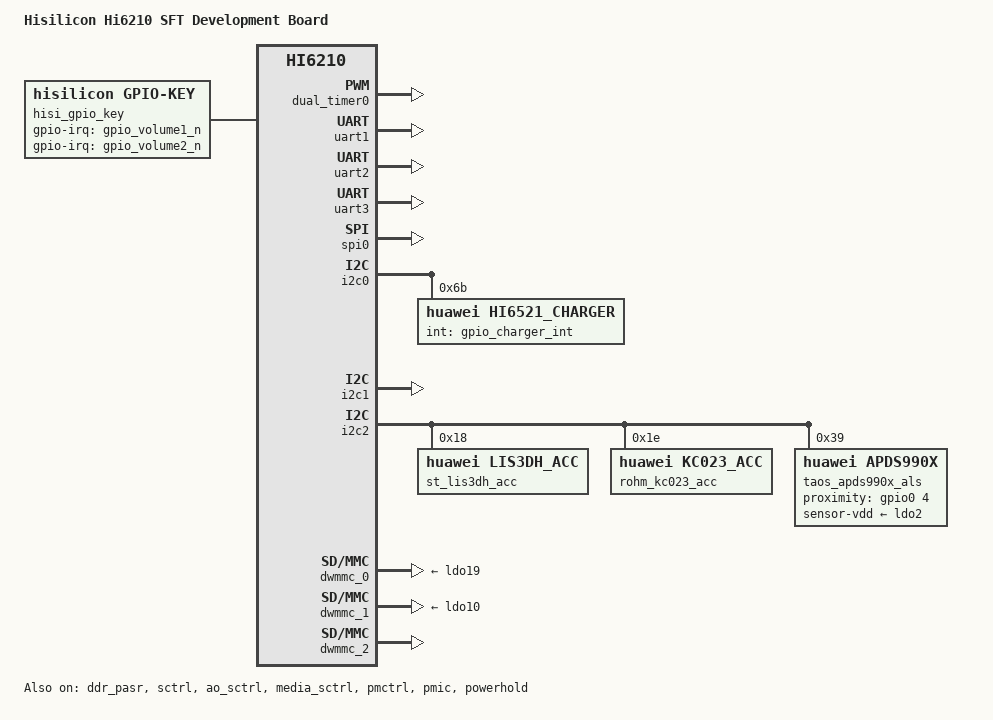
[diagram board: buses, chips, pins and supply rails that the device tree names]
/*
 *  Copyright (C) 2014 Hisilicon Ltd.
 *  Author: Bintian Wang <bintian.wang@huawei.com>
 *
 *  This program is free software; you can redistribute it and/or modify
 *  it under the terms of the GNU General Public License version 2 as
 *  publishhed by the Free Software Foundation.
 */

/include/ "skeleton.dtsi"
/include/ "hi6220_cs_udp_ddr2_pin.dtsi"
/include/ "hi6220_cs_udp_ddr2_charger.dtsi"
/include/ "hi6220_cs_udp_ddr2_pmic.dtsi"
/include/ "hi6220_cs_udp_ddr2_gpio_logic.dtsi"
/include/ "./cs_udp_ddr2/hi6220_gpio.dtsi"
/include/ "./cs_udp_ddr2/hi6220_pinctrl.dtsi"
/include/ "./cs_udp_ddr2/hi6220.dtsi"
/include/ "./cs_udp_ddr2/hi6220_clk.dtsi"
/include/ "./cs_udp_ddr2/hi6552_pmuclk.dtsi"
/include/ "./cs_udp_ddr2/hi6552_pmic_mntn.dtsi"
/include/ "./cs_udp_ddr2/hi6xxx_mtcmos.dtsi"
/include/ "./cs_udp_ddr2/hi6220_memory.dtsi"
/include/ "./cs_udp_ddr2/bq_bci_battery.dtsi"
/include/ "./cs_udp_ddr2/hi6220_touchscreen.dtsi"
/include/ "./cs_udp_ddr2/hi6220_vcodec.dtsi"
/include/ "./cs_udp_ddr2/hi6220_camera.dtsi"
/include/ "./cs_udp_ddr2/hi6220_videoconfig.dtsi"
/include/ "./cs_udp_ddr2/hi6220_mali450.dtsi"
/include/ "./cs_udp_ddr2/hi6220_fb.dtsi"
/include/ "./cs_udp_ddr2/hi6220_mipi_tm_nt35521.dtsi"
/include/ "./cs_udp_ddr2/hi6220_mipi_boe_nt35521.dtsi" 
/include/ "./cs_udp_ddr2/hi6220_mipi_cmi_nt35521.dtsi"
/include/ "./cs_udp_ddr2/hi6220_mipi_yassy_hx8394.dtsi"
/* /include/ "./cs_udp_ddr2/hi6220_otm1282b.dtsi" */
/include/ "./cs_udp_ddr2/hi6220_mipi_jdi_otm1902b.dtsi"
/include/ "./cs_udp_ddr2/test_hi6xxx_regulator.dtsi"
/include/ "./cs_udp_ddr2/hi6220_tsensor.dtsi"
/include/ "./cs_udp_ddr2/hi6xxx_hkadc.dtsi"
/include/ "./cs_udp_ddr2/hi6220_audio.dtsi"
/include/ "./cs_udp_ddr2/hi6220_clk_stub.dtsi"
/include/ "./cs_udp_ddr2/hi6xxx_ddr2.dtsi"
/include/ "./cs_udp_ddr2/hisi_hi1101.dtsi"
/include/ "./cs_udp_ddr2/hi6220_hall.dtsi"

/include/ "./cs_udp_ddr2/hisi_vibrator.dtsi"
/include/ "./cs_udp_ddr2/huawei_bluetooth.dtsi"
/include/ "./cs_udp_ddr2/huawei_gps.dtsi"
/include/ "./cs_udp_ddr2/hisi_hi6xxx_noc.dtsi"
/include/ "./cs_udp_ddr2/huawei_wifi.dtsi"
/ {
	model = "Hisilicon Hi6210 SFT Development Board";
	compatible = "hisilicon,hi6210";
	hisi,boardid = <0 0 5 3>;
	hisi,boardname = "hi6220_cs_udp_ddr2";
	mntn,acpu-scaddr = <0xf6504000 0x1000>;
	power,busdfs = <0x1>;
	power,localtimer = <0>;
	clk,support_odd_div = <0>;
	#address-cells = <1>;
	#size-cells = <1>;
	interrupt-parent = <&gic>;
	
    boardinfo{
	factory_product_name = "UDP";
	normal_product_name = "UDP";
	};
    
	aliases{
	    mshc0 = &dwmmc_0;
	    mshc1 = &dwmmc_1;
	    mshc2 = &dwmmc_2;
	};

	chosen {};

	clusters {
		#address-cells = <1>;
		#size-cells = <0>;

		cluster0: cluster@0 { /*A53 cluster*/
			reg = <0>;
			cores {
				#address-cells = <1>;
				#size-cells = <0>;

				core0: core@0 {
					reg = <0>;
				};

				core1: core@1 {
					reg = <1>;
				};

				core2: core@2 {
					reg = <2>;
				};

				core3: core@3 {
					reg = <3>;
				};

			};
		};

		cluster1: cluster@1 { /*A53 cluster*/
			reg = <1>;
			cores {
				#address-cells = <1>;
				#size-cells = <0>;

				core4: core@0 {
					reg = <0>;
				};

				core5: core@1 {
					reg = <1>;
				};

				core6: core@2 {
					reg = <2>;
				};

				core7: core@3 {
					reg = <3>;
				};
			};
		};
	};

	cpus {
		#address-cells = <1>;
		#size-cells = <0>;

		cpu@0 {
			compatible = "arm,cortex-a53";
			device_type = "cpu";
			reg = <0>;
			next-level-cache = <&l2>;			
			cluster = <&cluster0>;
			core = <&core0>;
			clock-frequency = <0>;
			clock-latency = <0>;
			operating-points = <
				/* kHz  uV */
				208000  0
				432000  0
				729000  0
				960000  0
				1200000 0
			>;
			
		};

		cpu@1 {
			compatible = "arm,cortex-a53";
			device_type = "cpu";
			reg = <1>;
			next-level-cache = <&l2>;
			cluster = <&cluster0>;
			core = <&core1>;
			clock-frequency = <0>;
			clock-latency = <0>;
		};

		cpu@2 {
			compatible = "arm,cortex-a53";
			device_type = "cpu";
			reg = <2>;
			next-level-cache = <&l2>;
			cluster = <&cluster0>;
			core = <&core2>;
			clock-frequency = <0>;
			clock-latency = <0>;
		};

		cpu@3 {
			compatible = "arm,cortex-a53";
			device_type = "cpu";
			reg = <3>;
			next-level-cache = <&l2>;
			cluster = <&cluster0>;
			core = <&core3>;
			clock-frequency = <0>;
			clock-latency = <0>;
		};
		cpu@4 {
			compatible = "arm,arm-v8";
			device_type = "cpu";
			reg = <0x100>;
			next-level-cache = <&l2>;
			cluster = <&cluster1>;
			core = <&core0>;
			clock-frequency = <0>;
			clock-latency = <0>;
		};
		cpu@5 {
			compatible = "arm,arm-v8";
			device_type = "cpu";
			reg = <0x101>;
			next-level-cache = <&l2>;
			cluster = <&cluster1>;
			core = <&core1>;
			clock-frequency = <0>;
			clock-latency = <0>;
		};
		cpu@6 {
			compatible = "arm,arm-v8";
			device_type = "cpu";
			reg = <0x102>;
			next-level-cache = <&l2>;
			cluster = <&cluster1>;
			core = <&core2>;
			clock-frequency = <0>;
			clock-latency = <0>;
		};
		cpu@7 {
			compatible = "arm,arm-v8";
			device_type = "cpu";
			reg = <0x103>;
			next-level-cache = <&l2>;
			cluster = <&cluster1>;
			core = <&core3>;
			clock-frequency = <0>;
			clock-latency = <0>;
		};
		
	};
	cpufreq-link_ddrfreq {
	        compatible = "hisilicon,cpu-link-ddr";
			switch-value = <0x1>;
			freq-208000 = <0x32c80 0x0 0x0>;
			freq-432000 = <0x69780 0x0 0x0>;
			freq-729000 = <0xb1fa8 0x0 0x0>;
			freq-960000 = <0xea600 0x0 0x61a80>;
			freq-1200000 = <0x124f80 0x0 0x61a80>;
        };	

    ddrfreq_boost_para {
            compatible = "hisilicon,ddrfreq_boost";
            switch-value = <0x1>;   
            ddrfreq_dfs_value = <0x5dc>;
            ddrfreq_dfs_last = <0x8>;
        };  
	
	cpufreq_scaling_threshold {
		compatible = "hisilicon,smp-scaling-threshold";
                operating-points = <
                        /* kHz  up_threshold down_threshold*/
                        208000   70   50
                        432000   75   50
                        729000   85   60
                        960000   85   70
                        1200000  90   70
                >;
	};
	
	cpuidle {
	        compatible = "arm,generic";
	        status = "ok";
        };
	
	/* cpufreq  device */
	cpufreq: cpufreq-bL {
		compatible = "hi6xxx,generic-smp-cpufreq";
	};
    /* ddr pasr */
    ddr_pasr: ddr_pasr@f7128000 {
        compatible = "hisilicon,ddr_pasr";
        reg = <0xf7128000 0x1000>;
        status = "ok";
    };
	timer {
	    compatible = "arm,armv8-timer";
	    interrupt-parent = <&gic>;
	    interrupts = <1 13 0xff08>,
	                 <1 14 0xff08>,
	                 <1 11 0xff08>,
	                 <1 10 0xff08>;
	    clock-frequency = <1200000>;
	};

	sctrl: sctrl {
		compatible = "hisilicon,sctrl";
		reg = <0xf7030000 0x2000>;
		status = "ok";
	};

	ao_sctrl: ao_sctrl {
		compatible = "hisilicon,aosctrl";
		reg = <0xf7800000 0x2000>;
		status = "ok";
	};
	
	media_sctrl: media_sctrl {
		compatible = "hisilicon,media_sctrl";
		reg = <0xf4410000 0x1000>;
		status = "ok";
	};

	pmctrl: pmctrl {
		compatible = "hisilicon,pmctrl";
		reg = <0xF7032000 0x1000>;
		status = "ok";
	};
        pmic: pmic@F8000000 {
                compatible = "hisilicon,hi6552-pmic-driver";
                status = "ok";
				/*电源按键*/
                ponkey:ponkey@b1{
                        compatible = "hisilicon,hisi-powerkey";
						/*PMU下的二级中断*/
                        interrupt-parent = <&pmic>;
						/*二级中断号*/
                        interrupts = <6 0>, <5 0>, <4 0>;
                        interrupt-names = "down", "up", "hold 1s";
                };
		/*库仑计驱动*/
                coul: coul@1 {
                        compatible = "hisilicon,hi6xxx-coul";
			/*父中断                                                           PMIC*/
                        interrupt-parent = <&pmic>;
			/*对应中断号                                                       24/25/26/27*/
                        interrupts = <24 0>, <25 0>, <26 0>, <27 0>;
			/*对应中断名称*/
                        interrupt-names = "cl_int_i", "cl_out_i", "cl_in_i", "vbat_int_i";	
			/*产品类型                                                         CHERRY*/
			battery_product_index = <0>;
			/*使能控制                                                         UDP版本关闭*/
						status = "ok";
                };
				/*RTC模块*/
                rtc: rtc@1 {
                        compatible = "hisilicon,hi6552-pmu-rtc";
						/*PMU下的二级中断*/
                        interrupt-parent = <&pmic>;
						/*二级中断号*/
                        interrupts = <20 0>;
                        interrupt-names = "hi6552_pmu_rtc";
						/*区分FPGA与ASIC平台：FPGA---0, ASIC---1*/
						board_id = <1>;
                };
				/*USB插拔检测*/
                usbvbus:usbvbus@b2{
			compatible = "hisilicon,hi6xxx-usbvbus";
			/*PMU下的二级中断*/
			interrupt-parent = <&pmic>;
			/*二级中断号*/
			interrupts = <9 0>, <8 0>;
			interrupt-names = "connect", "disconnect";
		};
	};

	amba {
		dual_timer0: timer@f8008000 {
			status = "ok";
		};

		dma0: dma@F7370000 {
			status = "ok";
		};
		/* UART模块pin脚配置 */
		uart0: uart@f8015000 {	/* console */
			pinctrl-names = "default", "idle";
			pinctrl-0 = <&UART0_RXD_pmx_func
			             &UART0_RXD_cfg_func
				     &UART0_TXD_pmx_func
				     &UART0_TXD_cfg_func>;
			pinctrl-1 = <&UART0_RXD_pmx_idle
			             &UART0_RXD_cfg_idle
				     &UART0_TXD_pmx_idle
			             &UART0_TXD_cfg_idle>;
			status = "disabled";
		};
		uart1: uart@f7111000 {
			pinctrl-names = "default", "idle";
			pinctrl-0 = <&UART1_CTS_N_pmx_func
			             &UART1_CTS_N_cfg_func
			             &UART1_RTS_N_pmx_func
				     &UART1_RTS_N_cfg_func
				     &UART1_RXD_pmx_func
				     &UART1_RXD_cfg_func
				     &UART1_TXD_pmx_func
				     &UART1_TXD_cfg_func>;
			pinctrl-1 = <&UART1_CTS_N_pmx_idle
			             &UART1_CTS_N_cfg_idle
			             &UART1_RTS_N_pmx_idle
				     &UART1_RTS_N_cfg_idle
				     &UART1_RXD_pmx_idle
				     &UART1_RXD_cfg_idle
				     &UART1_TXD_pmx_idle
				     &UART1_TXD_cfg_idle>;
			status = "ok";
		};
		uart2: uart@f7112000 {
			pinctrl-names = "default", "idle";
			pinctrl-0 = <&UART2_CTS_N_pmx_func
			             &UART2_CTS_N_cfg_func
			             &UART2_RTS_N_pmx_func
				     &UART2_RTS_N_cfg_func
				     &UART2_RXD_pmx_func
				     &UART2_RXD_cfg_func
				     &UART2_TXD_pmx_func
				     &UART2_TXD_cfg_func>;
			pinctrl-1 = <&UART2_CTS_N_pmx_idle
			             &UART2_CTS_N_cfg_idle
			             &UART2_RTS_N_pmx_idle
				     &UART2_RTS_N_cfg_idle
				     &UART2_RXD_pmx_idle
				     &UART2_RXD_cfg_idle
				     &UART2_TXD_pmx_idle
				     &UART2_TXD_cfg_idle>;
			status = "ok";
		};
		uart3: uart@f7113000 {
			status = "ok";
		};
		uart4: uart@f7114000 {
			status = "disabled";
		};

		spi0: spi@f7106000 {	
			status = "ok";
		};

		/*i2c 总线对接的设备*/
		i2c0: i2c@f7100000 {
			status = "ok";
			/*scharger驱动*/
			hi6521_charger:charger@6B {
				compatible = "huawei,hi6521_charger";
				/*scharger基地址                0x6B*/
				reg = <0x6B>;
				/*scharger中断*/
				gpio_int = <&gpio_charger_int>;
				/*最大输出电压                  4350mv*/
				max_charger_voltagemV = <4350>;
				/*最大输出电流                  2000ma*/
				max_charger_currentmA = <2000>;
				/*最大输入电流                  2500ma*/
				max_cin_limit_currentmA = <2500>;
				/*使能控制                      默认打开*/
				status = "ok";
			};

		};
		i2c1: i2c@f7101000 {
			status = "ok";			
		};
		i2c2: i2c@f7102000 {
			status = "ok";
			st_lis3dh_acc:acc@18{
				compatible="huawei,lis3dh_acc";
				reg = <0x18>;
				sensor_type="acc";
				poll_interval=<10>;
				min_interval=<10>;
				g_range=<0>;
				axis_map_x=<1>;
				axis_map_y=<0>;
				axis_map_z=<2>;
				negate_x=<0>;
				negate_y=<1>;
				negate_z=<0>;
				gpio_int1=<0>;
				gpio_int2=<0>;
				status = "ok";
			};
			rohm_kc023_acc:acc@1E{
				compatible="huawei,kc023_acc";
				reg = <0x1E>;
				sensor_type="acc";
				poll_interval=<10>;
				min_interval=<10>;
				g_range=<0>;
				accel_res=<3>;
				axis_map_x=<1>;
				axis_map_y=<0>;
				axis_map_z=<2>;
				negate_x=<0>;
				negate_y=<1>;
				negate_z=<0>;
				gpio_int1=<0>;
				gpio_int2=<0>;
				status = "ok";
			};
			taos_apds990x_als:light@39{
				compatible="huawei,apds990x";
				reg = <0x39>;
				sensor-vdd-supply = <&ldo2>;
				apds_type=<0>;
				sensor_rgb_type=<0>;
				proximity_gpio=<&gpio0 4 0>;
				status = "ok";
			};
		};
		i2c3: i2c@f7103000 {
			status = "disabled";
		};
		i2c4: i2c@f7104000 {
			status = "disabled";
		};
		i2c5: i2c@f7105000 {
			status = "disabled";
		};

	};

	/* emmc */
	dwmmc_0: dwmmc0@F723D000 {
 		compatible = "hisilicon,hi3630-dw-mshc";
		/*EMMC器件个数*/
		num-slots = <1>;
		/*区分SFT ASIC*/
		board-mmc-bus-clk = <0>;
		/*字符标示  非移动器件*/
		broken-cd;
		/*字符标示  cs单板*/
		cs_board;
		/*器件的能力   支持HS200*/
		caps2-mmc-hs200-1_8v;
		caps2-mmc-cache-ctrl;
 	        reg = <0xF723D000 0x1000>;
 		interrupts = <0 72 4>;
 		#address-cells = <1>;
 		#size-cells = <0>;
 		clocks = <&clk_mmc0_sample>, <&clk_mmc0>;
 		clock-names = "ciu", "biu";
		vmmc-supply = <&ldo19>;
		pinctrl-names = "default","idle";
		pinctrl-0 = <&EMMC_CLK_pmx_func
			     &EMMC_CLK_cfg_func
			     &EMMC_CMD_pmx_func
			     &EMMC_CMD_cfg_func
			     &EMMC_DATA0_pmx_func
			     &EMMC_DATA0_cfg_func
			     &EMMC_DATA1_pmx_func
			     &EMMC_DATA1_cfg_func
			     &EMMC_DATA2_pmx_func
			     &EMMC_DATA2_cfg_func
			     &EMMC_DATA3_pmx_func
			     &EMMC_DATA3_cfg_func
			     &EMMC_DATA4_pmx_func
			     &EMMC_DATA4_cfg_func
			     &EMMC_DATA5_pmx_func
			     &EMMC_DATA5_cfg_func
			     &EMMC_DATA6_pmx_func
			     &EMMC_DATA6_cfg_func
			     &EMMC_DATA7_pmx_func
			     &EMMC_DATA7_cfg_func>;
		pinctrl-1 = <&EMMC_CLK_pmx_idle
			     &EMMC_CLK_cfg_idle
			     &EMMC_CMD_pmx_idle
			     &EMMC_CMD_cfg_idle
			     &EMMC_DATA0_pmx_idle
			     &EMMC_DATA0_cfg_idle
			     &EMMC_DATA1_pmx_idle
			     &EMMC_DATA1_cfg_idle
			     &EMMC_DATA2_pmx_idle
			     &EMMC_DATA2_cfg_idle
			     &EMMC_DATA3_pmx_idle
			     &EMMC_DATA3_cfg_idle
			     &EMMC_DATA4_pmx_idle
			     &EMMC_DATA4_cfg_idle
			     &EMMC_DATA5_pmx_idle
			     &EMMC_DATA5_cfg_idle
			     &EMMC_DATA6_pmx_idle
			     &EMMC_DATA6_cfg_idle
			     &EMMC_DATA7_pmx_idle
			     &EMMC_DATA7_cfg_idle>;			 
     };
	 
	dwmmc_1: dwmmc1@F723E000 {
 		compatible = "hisilicon,hi3630-dw-mshc";
		num-slots = <1>;
		board-mmc-bus-clk = <0>;
		cd-vol = <1>;		
		card-detect-delay = <200>;
		cd-gpio = <&gpio_sd_det>;
 	    	cs_board;
		reg = <0xF723E000 0x1000>;
 		interrupts = <0 73 4>;
 		#address-cells = <1>;
 		#size-cells = <0>;
 		clocks = <&clk_mmc1_sample>, <&clk_mmc1>;
 		clock-names = "ciu", "biu";
		vqmmc-supply = <&ldo7>;
		vmmc-supply = <&ldo10>;
		pinctrl-names = "default","idle";
		pinctrl-0 = <&SD_CLK_pmx_func
		             &SD_CLK_cfg_func
			     &SD_CMD_pmx_func
			     &SD_CMD_cfg_func
			     &SD_DATA0_pmx_func
			     &SD_DATA0_cfg_func
			     &SD_DATA1_pmx_func
			     &SD_DATA1_cfg_func
			     &SD_DATA2_pmx_func
			     &SD_DATA2_cfg_func
			     &SD_DATA3_pmx_func
			     &SD_DATA3_cfg_func>;
		pinctrl-1 = <&SD_CLK_pmx_idle
		             &SD_CLK_cfg_idle
			     &SD_CMD_pmx_idle
			     &SD_CMD_cfg_idle
			     &SD_DATA0_pmx_idle
			     &SD_DATA0_cfg_idle
			     &SD_DATA1_pmx_idle
			     &SD_DATA1_cfg_idle
			     &SD_DATA2_pmx_idle
			     &SD_DATA2_cfg_idle
			     &SD_DATA3_pmx_idle
			     &SD_DATA3_cfg_idle>;			 
     };

	/* sdio */
	dwmmc_2: dwmmc2@F723F000 {
 		compatible = "hisilicon,hi3630-dw-mshc";
		num-slots = <1>;
		board-mmc-bus-clk = <0>;
		reg = <0xF723F000 0x1000>;
 		interrupts = <0 74 4>;
 		#address-cells = <1>;
 		#size-cells = <0>;
 		clocks = <&clk_mmc2_sample>, <&clk_mmc2>;
 		clock-names = "ciu", "biu";
		keep-power-in-suspend;
		emmc-ldo-supply = <&ldo2>;
		/* emmc-lvs-supply = <&ldo1>; */
		pinctrl-names = "default","idle";
		pinctrl-0 = <>;
		pinctrl-1 = <>;			 
     };
	/* 音量按键 */
	hisi_gpio_key {
	compatible = "hisilicon,gpio-key";
	/*pin脚配置*/
	pinctrl-names = "default", "idle";
	pinctrl-0 = <&GPIO_7_1_pmx_func
		     &GPIO_3_0_pmx_func
		     &GPIO_7_1_cfg_func
	             &GPIO_3_0_cfg_func>;
	pinctrl-1 = <&GPIO_7_1_pmx_idle
	             &GPIO_3_0_pmx_idle
	             &GPIO_7_1_cfg_idle
		     &GPIO_3_0_cfg_idle>;
	/* 按键中断GPIO */
	gpio-keyup,gpio-irq = <&gpio_volume1_n>;
	gpio-keydown,gpio-irq = <&gpio_volume2_n>;
	status = "ok";
	};

	hi6xxx_reset:hi6xxx_reset {
		compatible = "hisilicon,hi6xxx-reset";
		sctrl-value = <0x48698284>;
	};

	hi6xxx_soc_config:hi6xxx_soc_config {
		compatible = "hisilicon,hi6xxx-soc-config";
	};
	/* GPIO_0_0按键保护：该GPIO用于长按power_key直接关机 */
	powerhold:powerhold {
		compatible = "hisi,powerhold";
		gpio_powerhold = <&gpio_pwr_hold>; /*gpio0_0*/
		reg = <0xF8011000 0x1000>;  /*gpio0 base address*/
		offset = <0x4>;             /*gpio0 offset address*/
		status = "ok";
	};
	devcheck {
		compatible = "huawei,device_check";
		touch_panel = <0x0>;
		compass = <0x0>;
		g_sensor = <0x0>;
		camera_main = <0x0>;
		camera_slave = <0x0>;
		keypad = <0x0>;
		aps = <0x0>;
		gyroscope = <0x0>;
		nfc = <0x0>;
		dc_dc = <0x0>;
		speaker = <0x0>;
		ofn = <0x0>;
		tps = <0x0>;
		l_sensor = <0x0>;
		charge = <0x0>;
		battery = <0x0>;
		nct = <0x0>;
		mhl = <0x0>;
		audience = <0x0>;
		irda = <0x0>;
		hand_sensor = <0x0>;
		usb_switch = <0x0>;
		pmu_dcdc = <0x0>;
		fm = <0x0>;
		wifi = <0x0>;
		bt = <0x0>;
		gps = <0x0>;
		status = "ok";
	};
};
